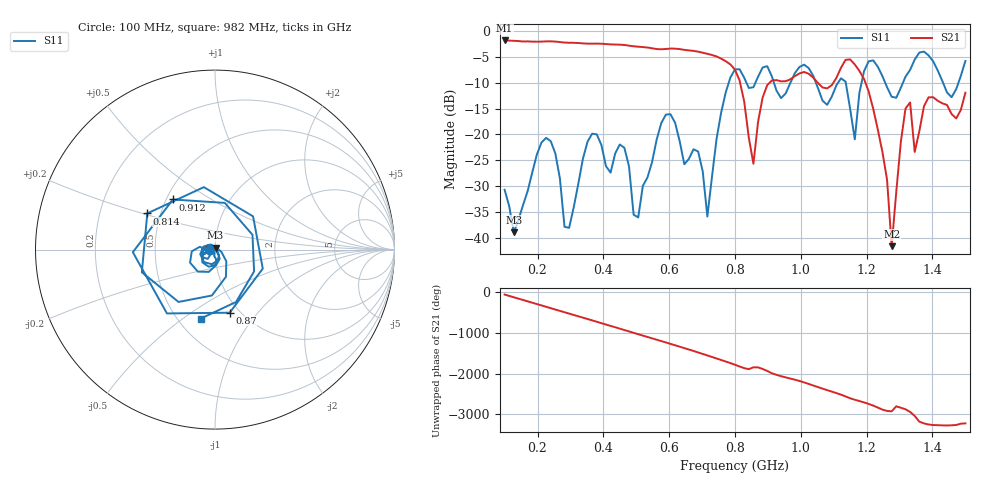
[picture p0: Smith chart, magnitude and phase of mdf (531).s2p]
! NanoVNA-App
! Date: 2025-09-25 15:42:33
! Start: 100MHz Stop: 1,5GHz Points: 101
! S-Parameter data: F S11 S21 S12 S22
# Hz S RI R 50
!  Frequency  S11_Real  S11_Imag  S21_Real  S21_Imag  S12_Real  S12_Imag  S22_Real  S22_Imag
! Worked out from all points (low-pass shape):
!   101 points, 100 MHz to 1.5 GHz, reference 50 ohm
!   highest |S21| = -1.80 dB at 100 MHz (marker M1); lowest = -41.6 dB at 1.276 GHz (marker M2)
!   |S21| within 3 dB of the highest: start of sweep to 739.2 MHz
!   lowest |S11| = -39.0 dB at 128 MHz (marker M3), VSWR 1.02, Z = 50.3 + j1.08 ohm
!   |S11| at or under -10 dB: start of sweep to 781 MHz; 918.3 MHz to 968.3 MHz (50.02 MHz wide, 5.3 % of centre); 1.046 GHz to 1.113 GHz (67.21 MHz wide, 6.23 % of centre) (the widest 3 of 7)
!   S12 and S22 are empty: the file has one direction only
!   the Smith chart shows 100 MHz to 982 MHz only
!   S11 on the Smith chart (normalised r, x): 100 MHz: 0.94, -0.01; 814 MHz: 0.42, +0.21; 870 MHz: 0.90, -0.73; 912 MHz: 0.54, +0.35; 982 MHz: 0.64, -0.58
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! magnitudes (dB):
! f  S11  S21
! 100 MHz  -30.7  -1.8
! 128 MHz  -39.0  -1.9
! 212 MHz  -21.6  -2.0
! 282 MHz  -37.9  -2.2
! 338 MHz  -24.7  -2.4
! 464 MHz  -22.6  -2.7
! 506 MHz  -36.1  -3.0
! 576 MHz  -17.8  -3.5
! 688 MHz  -23.3  -4.0
! 716 MHz  -35.9  -4.4
! 800 MHz  -7.4  -7.5
! 814 MHz  -7.4  -9.6
! 856 MHz  -10.9  -25.7
! 870 MHz  -8.9  -17.6
! 912 MHz  -8.8  -9.6
! 982 MHz  -8.1  -8.7
! 1.038 GHz  -8.7  -9.0
! 1.164 GHz  -21.0  -6.5
! 1.192 GHz  -7.8  -9.3
! 1.276 GHz  -12.7  -41.6
! 1.318 GHz  -8.8  -15.0
! 1.5 GHz  -5.8  -11.9
